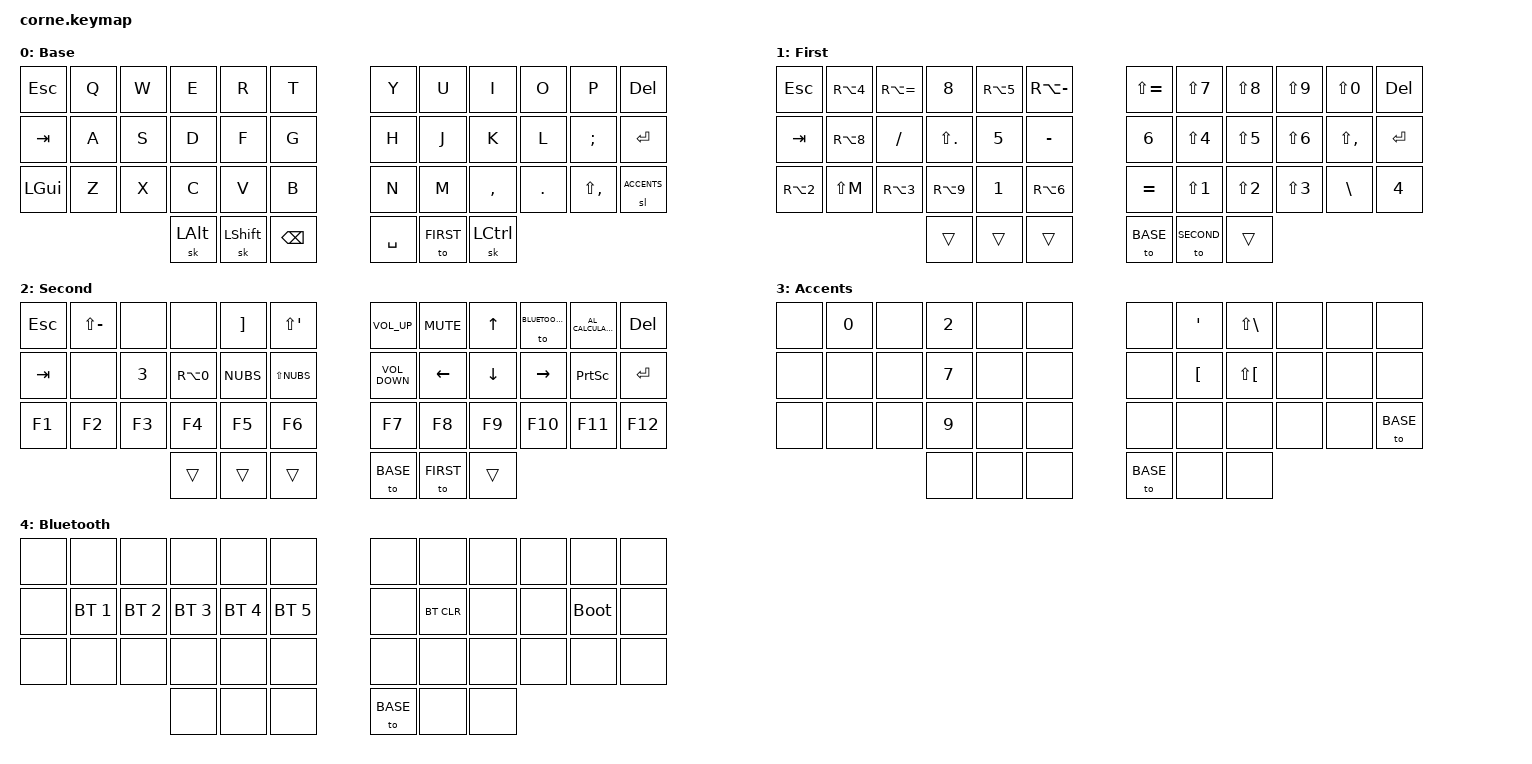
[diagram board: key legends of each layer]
#include <behaviors.dtsi>
#include <dt-bindings/zmk/keys.h>
#include <dt-bindings/zmk/bt.h>
#include <dt-bindings/zmk/reset.h>

#define BASE 0
#define FIRST 1
#define SECOND 2
#define ACCENTS 3
#define BLUETOOTH 4

/ {
    keymap {
        compatible = "zmk,keymap";

        base_layer {
            display-name = "Base";
            bindings = <
                &kp ESC   &kp Q    &kp W    &kp E    &kp R    &kp T    &kp Y    &kp U  &kp I      &kp O    &kp P      &kp DEL
                &kp TAB   &kp A    &kp S    &kp D    &kp F    &kp G    &kp H    &kp J  &kp K      &kp L    &kp SEMI   &kp RET
                &kp LGUI  &kp Z    &kp X    &kp C    &kp V    &kp B    &kp N    &kp M  &kp COMMA  &kp DOT  &kp LS(COMMA)  &sl ACCENTS
                           &sk LALT  &sk LSHFT  &kp BSPC    &kp SPACE  &to FIRST  &sk LCTRL
            >;
        };

        first_layer {
            display-name = "First";
            bindings = <
                &kp ESC     &kp RA(N4)  &kp RA(EQUAL)  &kp N8  &kp RA(N5)  &kp RA(MINUS)  &kp LS(EQUAL)  &kp LS(N7)  &kp LS(N8)  &kp LS(N9)  &kp LS(N0)  &kp DEL
                &kp TAB     &kp RA(N8)  &kp FSLH       &kp LS(DOT)         &kp N5         &kp MINUS      &kp N6      &kp LS(N4)  &kp LS(N5)  &kp LS(N6)  &kp LS(COMMA)  &kp RET
                &kp RA(N2)  &kp LS(M)   &kp RA(N3)     &kp RA(N9)          &kp N1         &kp RA(N6)     &kp EQUAL   &kp LS(N1)  &kp LS(N2)  &kp LS(N3)  &kp BSLH       &kp N4
                           &trans  &trans  &trans    &to BASE  &to SECOND  &trans  
            >;
        };

        second_layer {
            display-name = "Second";
            bindings = <
                &kp ESC  &kp LS(MINUS)  &none     &none         &kp RBKT  &kp LS(SQT)   &kp C_VOLUME_UP    &kp C_MUTE  &kp UP    &to BLUETOOTH  &kp C_AL_CALCULATOR  &kp DEL
                &kp TAB  &none          &kp N3    &kp RA(N0)    &kp NUBS  &kp LS(NUBS)  &kp C_VOLUME_DOWN  &kp LEFT    &kp DOWN  &kp RIGHT      &kp PSCRN            &kp RET
                &kp F1   &kp F2         &kp F3    &kp F4        &kp F5    &kp F6        &kp F7             &kp F8      &kp F9    &kp F10        &kp F11              &kp F12
                           &trans  &trans  &trans      &to BASE  &to FIRST  &trans
            >;
        };

        accent_layer {
            display-name = "Accents";
            bindings = <
                &none  &kp N0  &none  &kp N2  &none  &none  &none  &kp SQT   &kp LS(BSLH)  &none  &none  &none
                &none  &none   &none  &kp N7  &none  &none  &none  &kp LBKT  &kp LS(LBKT)  &none  &none  &none
                &none  &none   &none  &kp N9  &none  &none  &none  &none     &none         &none  &none  &to BASE
                           &none &none &none     &to BASE &none &none
            >;
        };

        bluetooth_layer {
            display-name = "Bluetooth";
            bindings = <
                &none   &none         &none         &none         &none         &none         &none  &none       &none  &none  &none        &none
                &none   &bt BT_SEL 1  &bt BT_SEL 2  &bt BT_SEL 3  &bt BT_SEL 4  &bt BT_SEL 5  &none  &bt BT_CLR  &none  &none  &bootloader  &none
                &none   &none         &none         &none         &none         &none         &none  &none       &none  &none  &none        &none
                           &none &none &none     &to BASE &none &none
            >;
        };
    };
};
